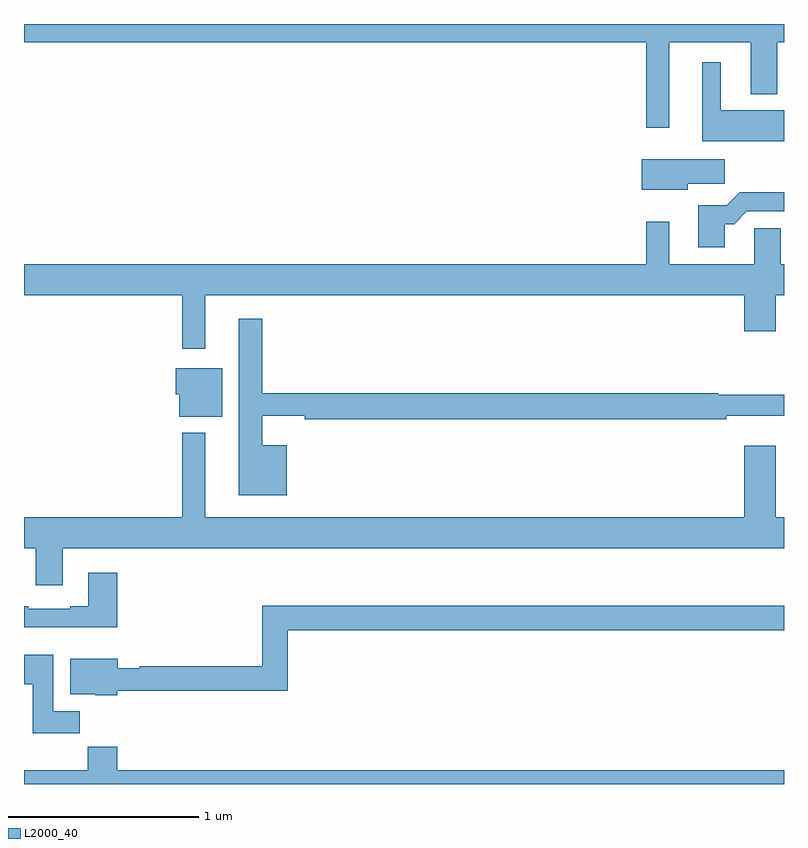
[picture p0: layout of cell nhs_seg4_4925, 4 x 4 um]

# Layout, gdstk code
import gdstk
lib = gdstk.Library(unit=1e-6, precision=1e-09)
def P(c, l, *ps):  # polygons
    for p in ps: c.add(gdstk.Polygon(p, *l))
L2000_40 = (2000, 40)

nhs_seg4_4925 = lib.new_cell('nhs_seg4_4925')
P(nhs_seg4_4925, L2000_40, [(380.395,812.804),(380.825,812.804),(380.825,812.531),(380.965,812.531),(380.965,812.804),(381,812.804),(381,812.9),(377,812.9),(377,812.804),(380.274,812.804),(380.274,812.355),(380.395,812.355)],
  [(381,812.446),(380.668,812.446),(380.668,812.698),(380.57,812.698),(380.57,812.282),(381,812.282)],
  [(380.494,812.059),(380.689,812.059),(380.689,812.188),(380.25,812.188),(380.25,812.027),(380.494,812.027)],
  [(380.689,811.847),(380.738,811.847),(380.805,811.914),(381,811.914),(381,812.015),(380.768,812.015),(380.698,811.945),(380.549,811.945),(380.549,811.725),(380.689,811.725)],
  [(377.953,811.472),(380.792,811.472),(380.792,811.284),(380.956,811.284),(380.956,811.472),(381,811.472),(381,811.636),(380.983,811.636),(380.983,811.826),(380.844,811.826),(380.844,811.636),(380.395,811.636),(380.395,811.858),(380.274,811.858),(380.274,811.636),(377,811.636),(377,811.472),(377.832,811.472),(377.832,811.191),(377.953,811.191)],
  [(378.382,810.682),(378.253,810.682),(378.253,810.839),(378.478,810.839),(378.478,810.82),(380.696,810.82),(380.696,810.839),(381,810.839),(381,810.949),(380.653,810.949),(380.653,810.956),(378.253,810.956),(378.253,811.348),(378.131,811.348),(378.131,810.419),(378.382,810.419)],
  [(378.043,811.087),(377.798,811.087),(377.798,810.951),(377.816,810.951),(377.816,810.833),(378.043,810.833)],
  [(377.203,810.14),(381,810.14),(381,810.304),(380.956,810.304),(380.956,810.679),(380.792,810.679),(380.792,810.304),(377.953,810.304),(377.953,810.748),(377.832,810.748),(377.832,810.304),(377,810.304),(377,810.14),(377.063,810.14),(377.063,809.946),(377.203,809.946)],
  [(377.492,810.013),(377.339,810.013),(377.339,809.836),(377.243,809.836),(377.243,809.823),(377.023,809.823),(377.023,809.836),(377,809.836),(377,809.726),(377.492,809.726)],
  [(377.49,809.391),(378.389,809.391),(378.389,809.71),(381,809.71),(381,809.839),(378.253,809.839),(378.253,809.519),(377.608,809.519),(377.608,809.508),(377.494,809.508),(377.494,809.56),(377.243,809.56),(377.243,809.372),(377.376,809.372),(377.376,809.366),(377.49,809.366)],
  [(377.294,809.284),(377.155,809.284),(377.155,809.581),(377,809.581),(377,809.425),(377.045,809.425),(377.045,809.166),(377.294,809.166)],
  [(381,808.972),(377.492,808.972),(377.492,809.096),(377.335,809.096),(377.335,808.972),(377,808.972),(377,808.9),(381,808.9)])

lib.write_gds('nhs_seg4_4925.gds')
